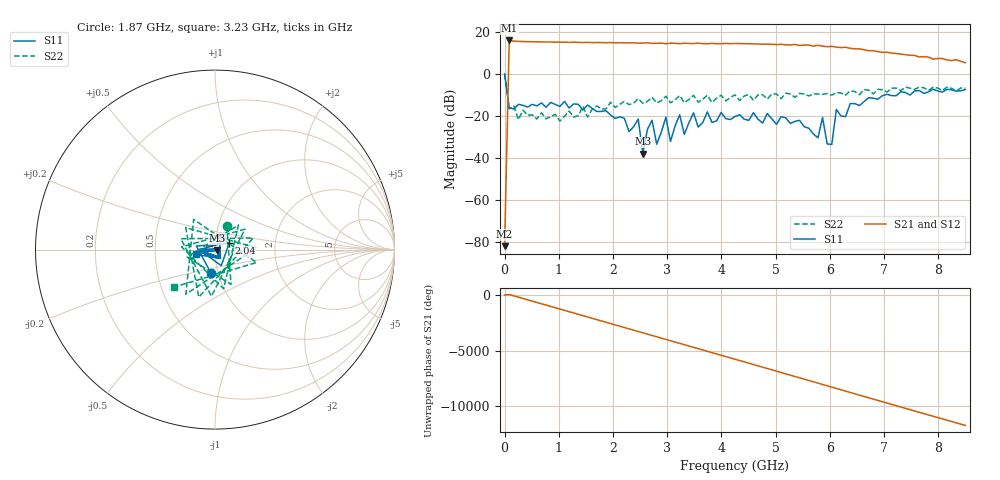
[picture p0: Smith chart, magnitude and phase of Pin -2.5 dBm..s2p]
! RsaToolbox (C) 2013 Rohde & Schwarz America
! Number of points: 101
! Number of ports: 2
! Balanced ports?: 0
# Hz S RI R 50
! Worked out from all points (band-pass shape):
!   101 points, 9 kHz to 8.5 GHz, reference 50 ohm
!   highest |S21| = 16.03 dB at 85.01 MHz (marker M1); lowest = -82.1 dB at 9 kHz (marker M2)
!   |S21| within 3 dB of the highest: 82.41 MHz to 6.079 GHz (5.997 GHz wide, 195 % of centre)
!   lowest |S11| = -37.9 dB at 2.55 GHz (marker M3), VSWR 1.03, Z = 51.2 - j0.431 ohm
!   |S11| at or under -10 dB: 52.86 MHz to 7.009 GHz (6.956 GHz wide, 197 % of centre); 7.102 GHz to 7.238 GHz (135.8 MHz wide, 1.89 % of centre); 7.478666 GHz to 7.480782 GHz (2.116 MHz wide, 0.0283 % of centre)
!   |S22| runs from -22.4 to 0.1 dB; largest |S21 - S12| = 0
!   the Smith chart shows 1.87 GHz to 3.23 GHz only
!   S11 on the Smith chart (normalised r, x): 1.87 GHz: 0.93, -0.25; 2.04 GHz: 1.17, +0.09; 3.23 GHz: 0.81, -0.04
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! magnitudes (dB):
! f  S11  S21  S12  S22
! 9 kHz  0.1  -82.1  -82.1  0.1
! 85.01 MHz  -16.1  16.0  16.0  -16.6
! 1.445 GHz  -17.1  15.0  15.0  -15.3
! 1.87 GHz  -17.5  14.9  14.9  -16.6
! 2.04 GHz  -21.2  14.9  14.9  -15.9
! 2.465 GHz  -21.5  14.8  14.8  -11.7
! 2.55 GHz  -37.9  14.8  14.8  -14.0
! 2.72 GHz  -22.0  14.7  14.7  -11.1
! 2.805 GHz  -33.5  14.7  14.7  -13.8
! 2.89 GHz  -27.7  14.8  14.8  -12.7
! 2.975 GHz  -20.6  14.5  14.5  -10.6
! 3.06 GHz  -32.1  14.7  14.7  -13.7
! 3.23 GHz  -19.4  14.5  14.5  -10.2
! 3.315 GHz  -28.8  14.7  14.7  -13.6
! 3.485 GHz  -18.5  14.5  14.5  -10.2
! 4.25 GHz  -20.2  14.6  14.6  -9.9
! 5.695 GHz  -28.5  13.3  13.3  -9.5
! 5.865 GHz  -20.7  13.3  13.3  -9.6
! 6.035 GHz  -33.6  13.3  13.3  -10.1
! 6.12 GHz  -16.9  12.8  12.8  -8.8
! 7.14 GHz  -10.3  10.0  10.0  -6.8
! 8.5 GHz  -7.4  5.4  5.4  -6.7
